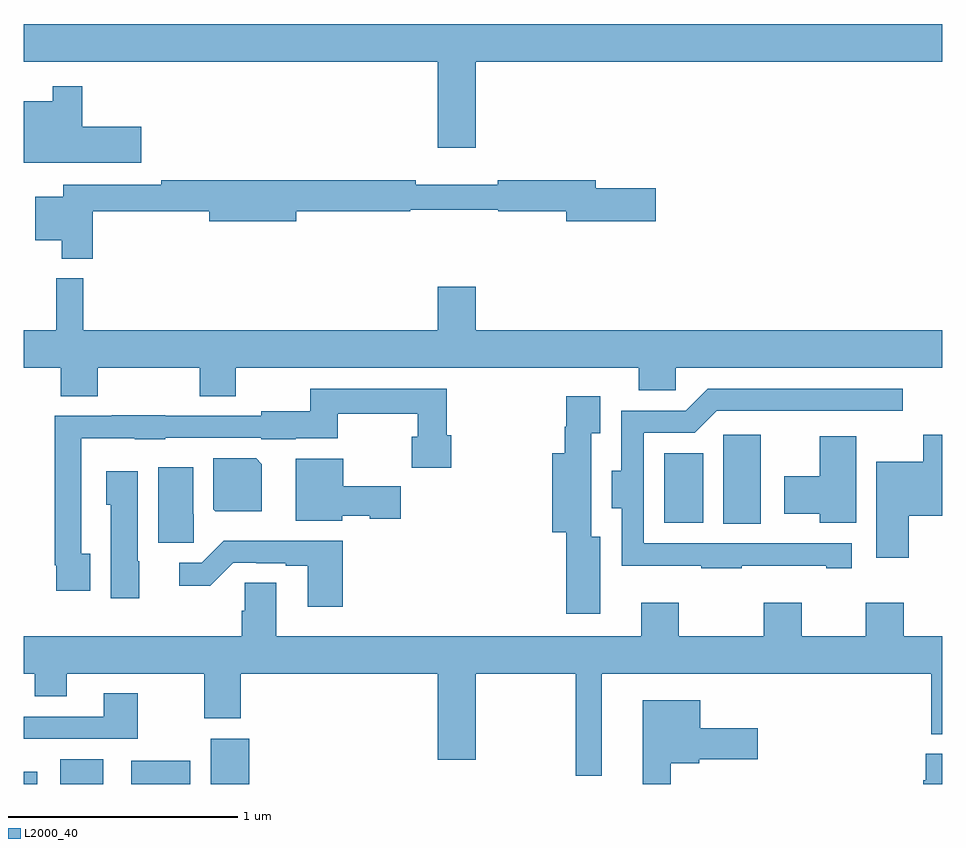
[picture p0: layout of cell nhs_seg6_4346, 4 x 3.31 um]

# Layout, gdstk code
import gdstk
lib = gdstk.Library(unit=1e-6, precision=1e-09)
def R(c, l, rs):  # rectangles x0, y0, x1, y1
    for r in rs: c.add(gdstk.rectangle(r[:2], r[2:], *l))
def P(c, l, *ps):  # polygons
    for p in ps: c.add(gdstk.Polygon(p, *l))
L2000_40 = (2000, 40)

nhs_seg6_4346 = lib.new_cell('nhs_seg6_4346')
R(nhs_seg6_4346, L2000_40, [(367,969.5,367.06,969.553), (367.16,969.5,367.348,969.607), (367.469,969.5,367.726,969.601), (367.814,969.5,367.982,969.697), (370.046,970.633,370.21,971.02), (369.788,970.637,369.958,970.939)])
P(nhs_seg6_4346, L2000_40, [(368.968,972.644),(371,972.644),(371,972.808),(367,972.808),(367,972.644),(368.804,972.644),(368.804,972.27),(368.968,972.27)],
  [(367.513,972.361),(367.256,972.361),(367.256,972.538),(367.128,972.538),(367.128,972.472),(367,972.472),(367,972.203),(367.513,972.203)],
  [(367.301,971.992),(367.808,971.992),(367.808,971.95),(368.188,971.95),(368.188,971.992),(368.684,971.992),(368.684,972),(369.066,972),(369.066,971.992),(369.362,971.992),(369.362,971.95),(369.751,971.95),(369.751,972.092),(369.49,972.092),(369.49,972.128),(369.064,972.128),(369.064,972.109),(368.708,972.109),(368.708,972.128),(367.6,972.128),(367.6,972.108),(367.172,972.108),(367.172,972.055),(367.052,972.055),(367.052,971.867),(367.166,971.867),(367.166,971.786),(367.301,971.786)],
  [(367.323,971.312),(367.768,971.312),(367.768,971.188),(367.923,971.188),(367.923,971.312),(369.677,971.312),(369.677,971.214),(369.84,971.214),(369.84,971.312),(371,971.312),(371,971.476),(368.968,971.476),(368.968,971.665),(368.804,971.665),(368.804,971.476),(367.259,971.476),(367.259,971.701),(367.142,971.701),(367.142,971.476),(367,971.476),(367,971.312),(367.163,971.312),(367.163,971.188),(367.323,971.188)],
  [(367.291,970.502),(367.251,970.502),(367.251,971.006),(367.485,971.006),(367.485,971),(367.617,971),(367.617,971.007),(368.034,971.007),(368.034,971),(368.184,971),(368.184,971.006),(368.368,971.006),(368.368,971.112),(368.715,971.112),(368.715,971.011),(368.689,971.011),(368.689,970.877),(368.862,970.877),(368.862,971.019),(368.843,971.019),(368.843,971.22),(368.247,971.22),(368.247,971.122),(368.034,971.122),(368.034,971.103),(367.617,971.103),(367.617,971.105),(367.385,971.105),(367.385,971.103),(367.135,971.103),(367.135,970.453),(367.143,970.453),(367.143,970.341),(367.291,970.341)],
  [(370.127,970.451),(370.493,970.451),(370.493,970.44),(370.606,970.44),(370.606,970.548),(369.699,970.548),(369.699,971.028),(369.921,971.028),(370.017,971.124),(370.828,971.124),(370.828,971.22),(369.978,971.22),(369.882,971.124),(369.602,971.124),(369.602,970.864),(369.56,970.864),(369.56,970.7),(369.603,970.7),(369.603,970.451),(369.949,970.451),(369.949,970.44),(370.127,970.44)],
  [(369.511,970.576),(369.472,970.576),(369.472,971.027),(369.511,971.027),(369.511,971.188),(369.363,971.188),(369.363,971.055),(369.355,971.055),(369.355,970.939),(369.302,970.939),(369.302,970.595),(369.362,970.595),(369.362,970.242),(369.511,970.242)],
  [(370.853,970.667),(371,970.667),(371,971.02),(370.916,971.02),(370.916,970.903),(370.712,970.903),(370.712,970.485),(370.853,970.485)],
  [(370.624,971.014),(370.466,971.014),(370.466,970.84),(370.311,970.84),(370.311,970.676),(370.466,970.676),(370.466,970.637),(370.624,970.637)],
  [(368.038,970.892),(368.012,970.918),(367.826,970.918),(367.826,970.696),(367.834,970.688),(368.038,970.688)],
  [(368.388,970.667),(368.508,970.667),(368.508,970.655),(368.641,970.655),(368.641,970.797),(368.392,970.797),(368.392,970.916),(368.186,970.916),(368.186,970.646),(368.388,970.646)],
  [(367.742,970.674),(367.738,970.674),(367.738,970.879),(367.586,970.879),(367.586,970.551),(367.742,970.551)],
  [(367.504,970.47),(367.498,970.47),(367.498,970.861),(367.361,970.861),(367.361,970.716),(367.379,970.716),(367.379,970.308),(367.504,970.308)],
  [(368.39,970.559),(367.871,970.559),(367.776,970.464),(367.677,970.464),(367.677,970.362),(367.812,970.362),(367.914,970.464),(368.014,970.464),(368.014,970.461),(368.141,970.461),(368.141,970.449),(368.237,970.449),(368.237,970.272),(368.39,970.272)],
  [(369.517,969.98),(370.951,969.98),(370.951,969.717),(371,969.717),(371,970.144),(370.831,970.144),(370.831,970.288),(370.667,970.288),(370.667,970.144),(370.387,970.144),(370.387,970.288),(370.223,970.288),(370.223,970.144),(369.853,970.144),(369.853,970.288),(369.689,970.288),(369.689,970.144),(368.101,970.144),(368.101,970.376),(367.962,970.376),(367.962,970.254),(367.949,970.254),(367.949,970.144),(367,970.144),(367,969.98),(367.049,969.98),(367.049,969.881),(367.189,969.881),(367.189,969.98),(367.786,969.98),(367.786,969.786),(367.946,969.786),(367.946,969.98),(368.804,969.98),(368.804,969.606),(368.968,969.606),(368.968,969.98),(369.403,969.98),(369.403,969.536),(369.517,969.536)],
  [(367.497,969.895),(367.349,969.895),(367.349,969.792),(367,969.792),(367,969.696),(367.497,969.696)],
  [(369.817,969.59),(369.942,969.59),(369.942,969.608),(370.195,969.608),(370.195,969.742),(369.946,969.742),(369.946,969.865),(369.695,969.865),(369.695,969.5),(369.817,969.5)],
  [(371,969.631),(370.928,969.631),(370.928,969.516),(370.916,969.516),(370.916,969.5),(371,969.5)])

lib.write_gds('nhs_seg6_4346.gds')
